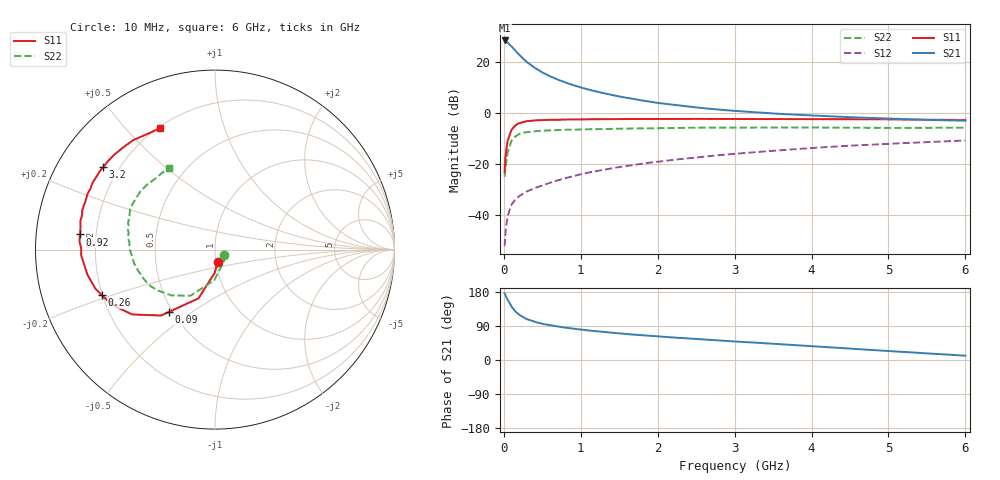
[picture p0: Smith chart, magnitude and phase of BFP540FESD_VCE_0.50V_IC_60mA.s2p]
! Infineon Technologies  Discrete & RF Semiconductors
! BFP540FESD
! VCE = 0.50 V,  IC =  60 mA
! Common Emitter S-Parameters:  Nov 2015
# GHz  S  MA  R  50
!  f  S11  S21  S12  S22
! GHz  MAG  ANG  MAG  ANG  MAG  ANG  MAG  ANG
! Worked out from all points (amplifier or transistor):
!   210 points, 10 MHz to 6 GHz, reference 50 ohm
!   highest |S21| = 28.5 dB at 10 MHz (marker M1)
!   |S21| within 3 dB of that: start of sweep to 120.4 MHz
!   unconditionally stable (mu >= 1): start of sweep to 194.3 MHz; 310.3 MHz to end of sweep
!   at 185 MHz: K = 1.01, MAG = 27.4 dB, |S12| = -32.8 dB
!   at 1.52 GHz: K = 1.26, MAG = 10.6 dB, |S12| = -21.0 dB
!   at 6 GHz: K = 1.24, MAG = 0.9 dB, |S12| = -10.7 dB
!   S11 on the Smith chart (normalised r, x): 10 MHz: 1.02, -0.14; 90 MHz: 0.48, -0.41; 260 MHz: 0.20, -0.19; 920 MHz: 0.14, +0.05; 3.2 GHz: 0.14, +0.32; 6 GHz: 0.21, +0.62
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0.01  0.0705 -77.7  26.66 175.9  0.0025 60.8  0.0572 -30.9
0.02  0.1303 -91.0  25.21 170.9  0.0043 71.0  0.0819 -52.4
0.05  0.2867 -108.7  24.22 158.5  0.0095 68.3  0.1707 -91.4
0.09  0.4333 -126.5  21.06 144.6  0.0149 62.8  0.2641 -114.7
0.1  0.4739 -129.2  20.5 140.5  0.0163 62.0  0.2914 -118.0
0.15  0.5857 -141.9  16.78 127.9  0.0204 56.2  0.353 -133.8
0.2  0.6413 -150.5  13.92 119.3  0.0238 53.2  0.3921 -144.5
0.26  0.6802 -158.1  11.37 111.8  0.0273 52.8  0.419 -152.7
0.3  0.7009 -161.8  10.07 107.8  0.0295 52.5  0.4273 -156.8
0.4  0.7246 -169.0  7.785 100.6  0.0342 54.7  0.4447 -164.8
0.5  0.7342 -173.7  6.305 95.5  0.0386 56.1  0.4574 -170.5
0.6  0.7455 -177.3  5.292 91.7  0.0437 57.8  0.4624 -174.4
0.7  0.7464 179.2  4.572 88.1  0.0485 58.7  0.4677 -177.6
0.92  0.7572 173.6  3.484 82.3  0.0598 59.7  0.4782 176.6
1.02  0.7581 171.4  3.143 79.8  0.0651 59.5  0.4809 174.4
1.48  0.7706 163.7  2.161 70.6  0.0876 58.6  0.4986 166.5
2.02  0.7746 155.9  1.582 61.9  0.1132 55.6  0.5108 160.0
3.1  0.7755 144.7  1.088 47.8  0.1653 48.5  0.5251 150.9
3.2  0.7747 143.7  1.062 46.6  0.17 47.6  0.5249 150.1
4.1  0.7696 135.7  0.892 35.2  0.2134 39.8  0.5259 141.0
5.1  0.7575 125.5  0.779 22.4  0.2568 29.3  0.5164 129.5
6  0.7428 114.4  0.715 11.4  0.2933 20.1  0.522 119.6
